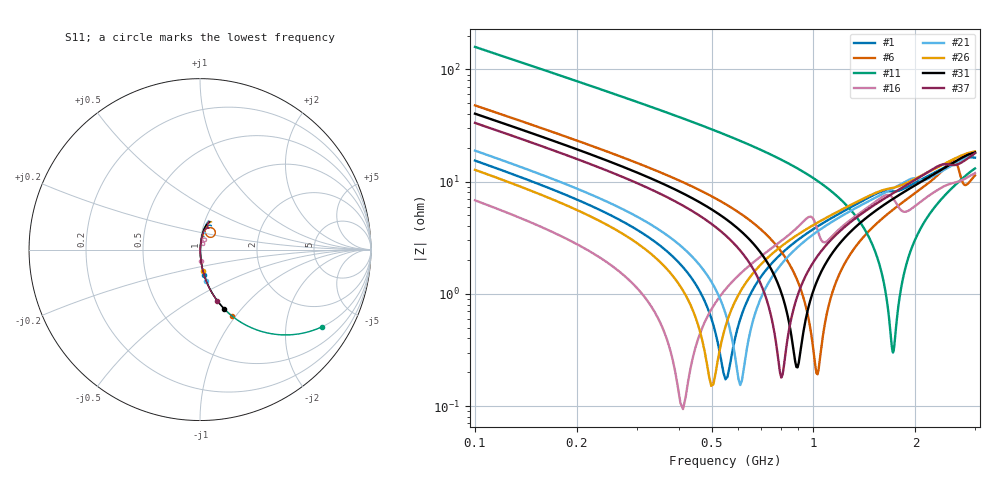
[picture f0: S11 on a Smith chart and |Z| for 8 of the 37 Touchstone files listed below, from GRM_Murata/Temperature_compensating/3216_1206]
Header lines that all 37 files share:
!These Parameters are Measured in Series Mode Connection
!Data Generated on Mar 30, 2021
!  o--ll--o
!Port1  Port2
!  o------o
!Operation Temp=25[degC], DC Bias Voltage=0[V]
# Hz S RI R 50
!Freq.(Hz) S11(Real) S11(Imag) S21(Real) S21(Imag) S12(Real) S12(Imag) S22(Real) S22(Imag)
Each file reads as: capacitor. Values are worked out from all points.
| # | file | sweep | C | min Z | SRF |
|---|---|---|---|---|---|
| 1 | GRM31A5C2J101JW01.s2p | 100 MHz to 3 GHz | 99.9 pF | 173 mohm | 551.5 MHz |
| 2 | GRM31A5C2J151JW01.s2p | 100 MHz to 3 GHz | 150 pF | 150 mohm | 434.5 MHz |
| 3 | GRM31A5C2J180JW01.s2p | 100 MHz to 3 GHz | 18 pF | 248 mohm | 1.298 GHz |
| 4 | GRM31A5C2J220JW01.s2p | 100 MHz to 3 GHz | 22 pF | 218 mohm | 1.202 GHz |
| 5 | GRM31A5C2J221JW01.s2p | 100 MHz to 3 GHz | 220 pF | 145 mohm | 353.3 MHz |
| 6 | GRM31A5C2J330JW01.s2p | 100 MHz to 3 GHz | 33 pF | 192 mohm | 1.026 GHz |
| 7 | GRM31A5C2J391JW01.s2p | 100 MHz to 3 GHz | 390 pF | 100 mohm | 279 MHz |
| 8 | GRM31A5C2J470JW01.s2p | 100 MHz to 3 GHz | 47 pF | 197 mohm | 774.3 MHz |
| 9 | GRM31A5C2J561JW01.s2p | 100 MHz to 3 GHz | 559 pF | 82.5 mohm | 234.9 MHz |
| 10 | GRM31A5C2J680JW01.s2p | 100 MHz to 3 GHz | 68 pF | 176 mohm | 676.2 MHz |
| 11 | GRM31A5C3A100JW01.s2p | 100 MHz to 3 GHz | 9.99 pF | 300 mohm | 1.718 GHz |
| 12 | GRM31A5C3A101JW01.s2p | 100 MHz to 3 GHz | 99.9 pF | 147 mohm | 560 MHz |
| 13 | GRM31A5C3A150JW01.s2p | 100 MHz to 3 GHz | 15 pF | 263 mohm | 1.402 GHz |
| 14 | GRM31A5C3A180JW01.s2p | 100 MHz to 3 GHz | 18 pF | 244 mohm | 1.301 GHz |
| 15 | GRM31A5C3A181JW01.s2p | 100 MHz to 3 GHz | 180 pF | 102 mohm | 441.3 MHz |
| 16 | GRM31A5C3A221JW01.s2p | 100 MHz to 3 GHz | 220 pF | 94 mohm | 410.5 MHz |
| 17 | GRM31A5C3A270JW01.s2p | 100 MHz to 3 GHz | 27 pF | 207 mohm | 1.095 GHz |
| 18 | GRM31A5C3A470JW01.s2p | 100 MHz to 3 GHz | 47 pF | 185 mohm | 786.4 MHz |
| 19 | GRM31A5C3A471JWA1.s2p | 100 MHz to 3 GHz | 471 pF | 78.6 mohm | 259.6 MHz |
| 20 | GRM31A5C3A560JW01.s2p | 100 MHz to 3 GHz | 56 pF | 189 mohm | 728.4 MHz |
| 21 | GRM31A5C3A820JW01.s2p | 100 MHz to 3 GHz | 82 pF | 154 mohm | 608.1 MHz |
| 22 | GRM31A7U2J100JW31.s2p | 100 MHz to 3 GHz | 9.99 pF | 309 mohm | 1.761 GHz |
| 23 | GRM31A7U2J101JW31.s2p | 100 MHz to 3 GHz | 99.9 pF | 168 mohm | 546.6 MHz |
| 24 | GRM31A7U2J102JW31.s2p | 1 MHz to 3 GHz | 1 nF | 70.9 mohm | 175.4 MHz |
| 25 | GRM31A7U2J120JW31.s2p | 100 MHz to 3 GHz | 12 pF | 328 mohm | 1.635 GHz |
| 26 | GRM31A7U2J121JW31.s2p | 100 MHz to 3 GHz | 120 pF | 151 mohm | 501.7 MHz |
| 27 | GRM31A7U2J152JW31.s2p | 1 MHz to 3 GHz | 1.48 nF | 53.1 mohm | 150.5 MHz |
| 28 | GRM31A7U2J180JW31.s2p | 100 MHz to 3 GHz | 18 pF | 287 mohm | 1.259 GHz |
| 29 | GRM31A7U2J270JW31.s2p | 100 MHz to 3 GHz | 27 pF | 266 mohm | 1.04 GHz |
| 30 | GRM31A7U2J330JW31.s2p | 100 MHz to 3 GHz | 33 pF | 247 mohm | 952 MHz |
| 31 | GRM31A7U2J390JW31.s2p | 100 MHz to 3 GHz | 39 pF | 221 mohm | 894.6 MHz |
| 32 | GRM31A7U2J560JW31.s2p | 100 MHz to 3 GHz | 55.9 pF | 190 mohm | 761.2 MHz |
| 33 | GRM31A7U2J680JW31.s2p | 100 MHz to 3 GHz | 67.9 pF | 171 mohm | 690.3 MHz |
| 34 | GRM31A7U3A100JW31.s2p | 100 MHz to 3 GHz | 9.99 pF | 330 mohm | 1.765 GHz |
| 35 | GRM31A7U3A120JW31.s2p | 100 MHz to 3 GHz | 12 pF | 321 mohm | 1.649 GHz |
| 36 | GRM31A7U3A121JW31.s2p | 100 MHz to 3 GHz | 120 pF | 139 mohm | 499.6 MHz |
| 37 | GRM31A7U3A470JW31.s2p | 100 MHz to 3 GHz | 47 pF | 179 mohm | 804.6 MHz |
